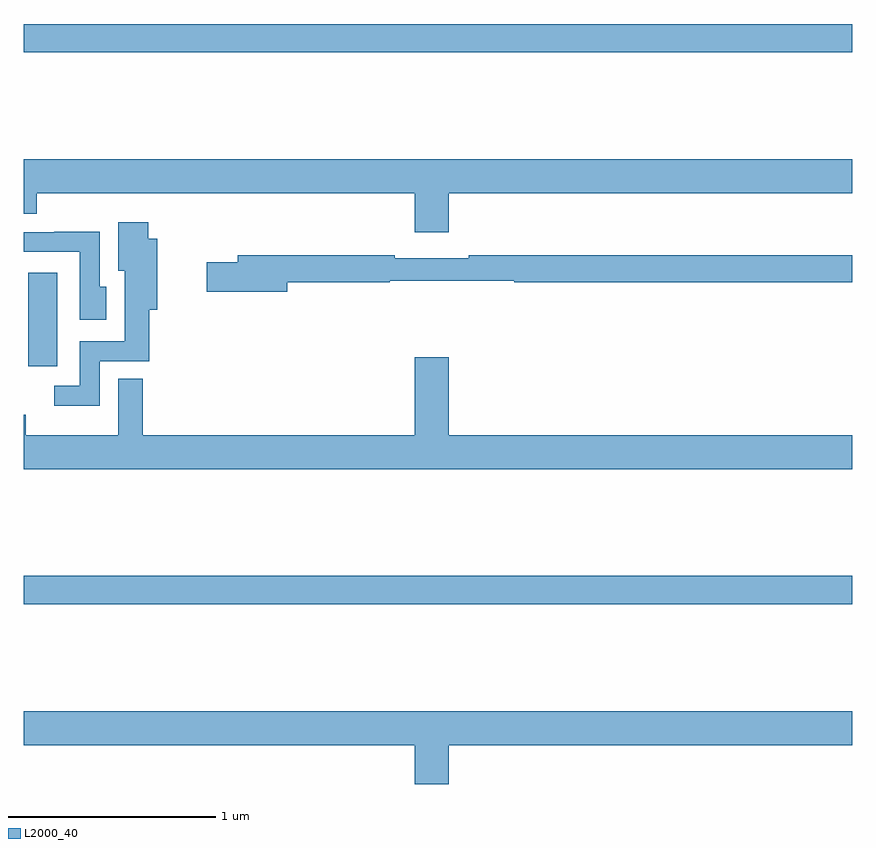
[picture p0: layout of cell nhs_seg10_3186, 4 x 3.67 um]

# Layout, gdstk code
import gdstk
lib = gdstk.Library(unit=1e-6, precision=1e-09)
def R(c, l, rs):  # rectangles x0, y0, x1, y1
    for r in rs: c.add(gdstk.rectangle(r[:2], r[2:], *l))
def P(c, l, *ps):  # polygons
    for p in ps: c.add(gdstk.Polygon(p, *l))
L2000_40 = (2000, 40)

nhs_seg10_3186 = lib.new_cell('nhs_seg10_3186')
R(nhs_seg10_3186, L2000_40, [(283,1315.648,287,1315.784), (283.022,1316.796,283.162,1317.247), (283,1318.312,287,1318.448)])
P(nhs_seg10_3186, L2000_40, [(283,1317.533),(283.064,1317.533),(283.064,1317.632),(284.888,1317.632),(284.888,1317.444),(285.052,1317.444),(285.052,1317.632),(287,1317.632),(287,1317.796),(283,1317.796)],
  [(283.368,1316.82),(283.606,1316.82),(283.606,1317.068),(283.645,1317.068),(283.645,1317.412),(283.601,1317.412),(283.601,1317.49),(283.457,1317.49),(283.457,1317.257),(283.487,1317.257),(283.487,1316.916),(283.272,1316.916),(283.272,1316.703),(283.149,1316.703),(283.149,1316.606),(283.368,1316.606)],
  [(283.399,1317.18),(283.368,1317.18),(283.368,1317.446),(283.147,1317.446),(283.147,1317.444),(283,1317.444),(283,1317.348),(283.272,1317.348),(283.272,1317.021),(283.399,1317.021)],
  [(284.272,1317.202),(284.768,1317.202),(284.768,1317.21),(285.368,1317.21),(285.368,1317.202),(287,1317.202),(287,1317.331),(285.148,1317.331),(285.148,1317.318),(284.792,1317.318),(284.792,1317.331),(284.033,1317.331),(284.033,1317.297),(283.884,1317.297),(283.884,1317.155),(284.272,1317.155)],
  [(287,1316.464),(285.052,1316.464),(285.052,1316.839),(284.888,1316.839),(284.888,1316.464),(283.576,1316.464),(283.576,1316.735),(283.457,1316.735),(283.457,1316.464),(283.011,1316.464),(283.011,1316.563),(283,1316.563),(283,1316.3),(287,1316.3)],
  [(285.052,1314.968),(287,1314.968),(287,1315.132),(283,1315.132),(283,1314.968),(284.888,1314.968),(284.888,1314.78),(285.052,1314.78)])

lib.write_gds('nhs_seg10_3186.gds')
